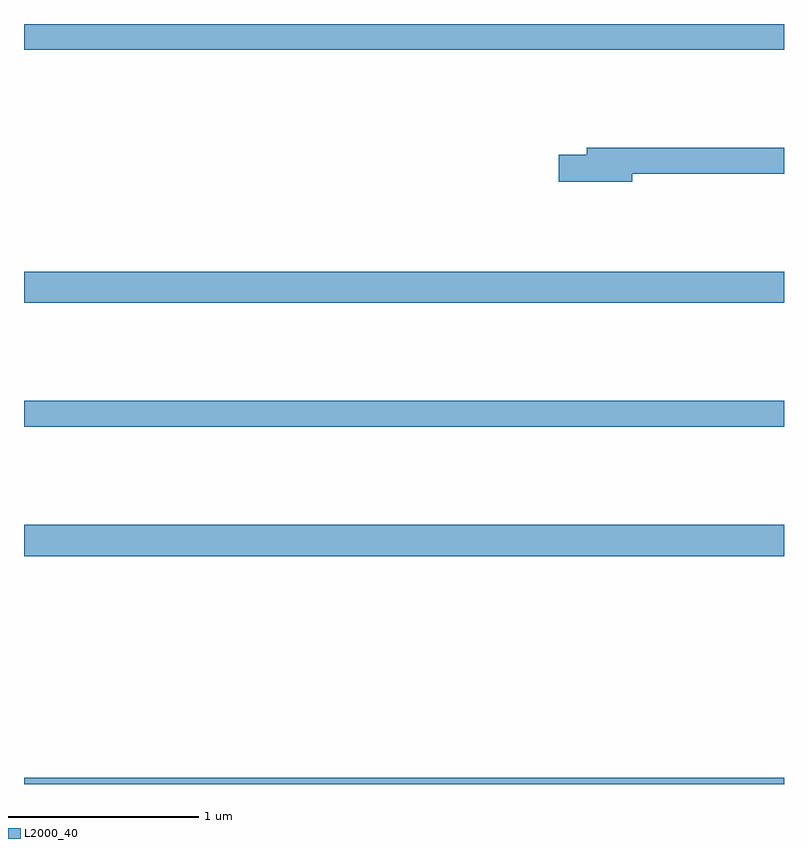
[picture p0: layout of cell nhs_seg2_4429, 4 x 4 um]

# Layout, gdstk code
import gdstk
lib = gdstk.Library(unit=1e-6, precision=1e-09)
def R(c, l, rs):  # rectangles x0, y0, x1, y1
    for r in rs: c.add(gdstk.rectangle(r[:2], r[2:], *l))
def P(c, l, *ps):  # polygons
    for p in ps: c.add(gdstk.Polygon(p, *l))
L2000_40 = (2000, 40)

nhs_seg2_4429 = lib.new_cell('nhs_seg2_4429')
R(nhs_seg2_4429, L2000_40, [(351,615.8,355,615.832), (351,617,355,617.164), (351,617.68,355,617.816), (351,618.332,355,618.496), (351,619.664,355,619.8)])
P(nhs_seg2_4429, L2000_40, [(354.202,619.012),(355,619.012),(355,619.148),(353.963,619.148),(353.963,619.112),(353.814,619.112),(353.814,618.97),(354.202,618.97)])

lib.write_gds('nhs_seg2_4429.gds')
